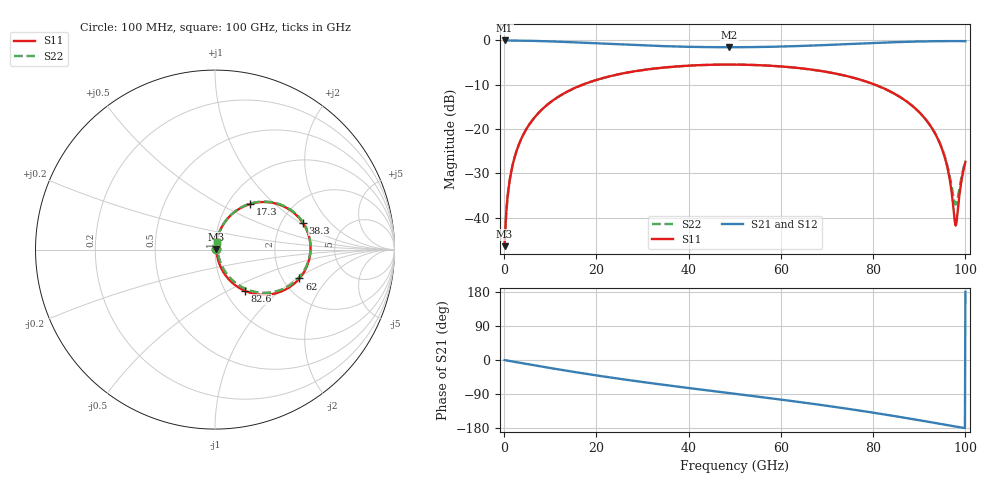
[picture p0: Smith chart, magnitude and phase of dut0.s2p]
! Touchstone file exported from HFSS 2026.1.0
!  File:  C:/ffzhzh/LocalFiles/Ansys_Project_Files/temp_train_RDL_0_1783497506_9504.aedt
!  Generated:  04:00:08 PM Jul  8, 2026
!  Design:  RDL
!  Project:  temp_train_RDL_0_1783497506_9504
! Variables:
!  h_bsmrdl = 2um
!  h_ox = 20um
!  h_rdl = 5um
!  h_sub = 80um
!  h_tmrdl = 2.07um
!  h_tsv = 80um
!  h_via = 3um
!  l_bsmrdl = 300um
!  l_sub = 984.84um
!  l_tmrdl = 584.84um
!  m_sub = 200um
!  pitch = 51.38um
!  r_tsv = 6um
!  s_tmrdl = 10um
!  w_bsmrdl = 18um
!  w_sub = 500um
!  w_tmrdl = 26.71um
!  x_tsv_center1 = 598.195um
!  x_tsv_center2 = 916.195um
!  x_tsv_center3 = 1527.745um
!  x_tsv_center4 = 1845.745um
!  x_tsv_center5 = 2457.295um
!  x_tsv_center6 = 2775.295um
# GHz S MA R 50.000000
! Terminal data exported
! Port[1] = TM_RDL1_1_T1
! Port[2] = TM_RDL1_1_T2
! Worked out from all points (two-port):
!   1000 points, 100 MHz to 100 GHz, reference 50 ohm
!   highest |S21| = -0.04 dB at 100 MHz (marker M1); lowest = -1.6 dB at 48.8 GHz (marker M2)
!   |S21| within 3 dB of the highest: start of sweep to end of sweep
!   lowest |S11| = -46.4 dB at 100 MHz (marker M3), VSWR 1.01, Z = 50.4 + j0.237 ohm
!   |S11| at or under -10 dB: start of sweep to 17.07 GHz; 80.35 GHz to end of sweep
!   |S22| runs from -46.4 to -5.5 dB; largest |S21 - S12| = 1.8e-14
!   S11 on the Smith chart (normalised r, x): 100 MHz: 1.01, +0.00; 17.3 GHz: 1.26, +0.71; 38.3 GHz: 2.60, +1.06; 62 GHz: 2.46, -1.05; 82.6 GHz: 1.23, -0.61; 100 GHz: 1.02, +0.08
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0.1  0.004762 29.5  0.9959 -0.2  0.9959 -0.2  0.004762 29.5
! Gamma 0 0 0 0
! Port Impedance 50 0 50 0
0.9  0.02024 73.0  0.9945 -2.0  0.9945 -2.0  0.02024 73.0
1.6  0.03437 77.1  0.9938 -3.5  0.9938 -3.5  0.03437 77.1
4.2  0.08723 76.8  0.99 -9.0  0.99 -9.0  0.08723 76.9
9.2  0.1847 68.1  0.9754 -19.5  0.9754 -19.5  0.1847 68.3
16.8  0.3123 53.5  0.9406 -34.6  0.9406 -34.6  0.3122 53.9
17.3  0.3196 52.5  0.938 -35.6  0.938 -35.6  0.3196 52.9
33.4  0.4854 24.8  0.8631 -63.6  0.8631 -63.6  0.4853 25.6
38.3  0.511 17.1  0.8484 -71.3  0.8484 -71.3  0.5109 18.1
48.8  0.5325 1.3  0.8352 -87.3  0.8352 -87.3  0.5324 2.5
50.1  0.5321 -0.7  0.8354 -89.3  0.8354 -89.3  0.532 0.6
62  0.4972 -18.8  0.8556 -107.7  0.8556 -107.7  0.4971 -17.1
66.7  0.4667 -26.4  0.8718 -115.3  0.8718 -115.3  0.4666 -24.5
82.6  0.2822 -54.3  0.9432 -144.0  0.9432 -144.0  0.2822 -51.4
83.4  0.2695 -55.7  0.9466 -145.6  0.9466 -145.6  0.2696 -52.8
89.5  0.1636 -66.9  0.9683 -157.9  0.9683 -157.9  0.1639 -63.0
93.6  0.08548 -72.9  0.977 -166.5  0.977 -166.5  0.08613 -67.0
96  0.03863 -71.2  0.9792 -171.6  0.9792 -171.6  0.0402 -60.9
97.8  0.00838 -11.0  0.9795 -175.4  0.9795 -175.4  0.0142 -2.8
98.2  0.01008 38.1  0.9794 -176.2  0.9794 -176.2  0.01531 27.3
99.2  0.02703 72.3  0.9789 -178.4  0.9789 -178.4  0.02945 63.4
100  0.04238 77.1  0.9782 179.9  0.9782 179.9  0.04398 71.6
